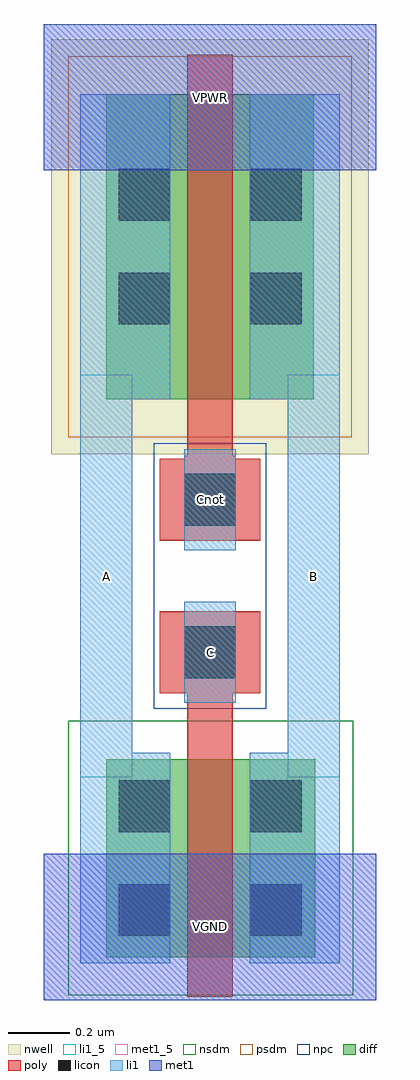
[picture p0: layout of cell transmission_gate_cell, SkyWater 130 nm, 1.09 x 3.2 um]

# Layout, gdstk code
import gdstk
lib = gdstk.Library(unit=1e-6, precision=1e-09)
def R(c, l, rs):  # rectangles x0, y0, x1, y1
    for r in rs: c.add(gdstk.rectangle(r[:2], r[2:], *l))
nwell = (64, 20)
diff = (65, 20)
poly = (66, 20)
licon = (66, 44)
li1_5 = (67, 5)
li1 = (67, 20)
met1_5 = (68, 5)
met1 = (68, 20)
nsdm = (93, 44)
psdm = (94, 20)
npc = (95, 20)

transmission_gate_cell = lib.new_cell('transmission_gate_cell')
R(transmission_gate_cell, nwell, [(-0.445,-0.18,0.595,1.18)])
R(transmission_gate_cell, diff, [(-0.265,-1.83,0.42,-1.18), (-0.265,0,0.415,1)])
R(transmission_gate_cell, poly, [(0,-1.96,0.15,-0.965), (-0.09,-0.965,0.24,-0.695), (-0.09,-0.465,0.24,-0.195), (-0.01,-0.195,0.16,-0.185), (0,-0.185,0.15,1.13)])
R(transmission_gate_cell, licon, [(-0.225,-1.76,-0.055,-1.59), (0.205,-1.76,0.375,-1.59), (-0.225,-1.42,-0.055,-1.25), (0.205,-1.42,0.375,-1.25), (-0.01,-0.915,0.16,-0.745), (-0.01,-0.415,0.16,-0.245), (-0.225,0.245,-0.055,0.415), (0.205,0.245,0.375,0.415), (-0.225,0.585,-0.055,0.755), (0.205,0.585,0.375,0.755)])
R(transmission_gate_cell, li1_5, [(-0.35,-1.24,-0.18,0.08), (0.33,-1.24,0.5,0.08), (-0.01,-0.915,0.16,-0.745), (-0.01,-0.415,0.16,-0.245)])
R(transmission_gate_cell, li1, [(-0.35,-1.85,-0.055,-1.16), (0.205,-1.85,0.5,-1.16), (-0.35,-1.16,-0.18,0), (0.33,-1.16,0.5,0), (-0.01,-0.995,0.16,-0.665), (-0.01,-0.495,0.16,-0.165), (-0.35,0,-0.055,1), (0.205,0,0.5,1)])
R(transmission_gate_cell, met1_5, [(-0.47,-1.97,0.62,-1.49), (-0.47,0.75,0.62,1.23)])
R(transmission_gate_cell, met1, [(-0.47,-1.97,0.62,-1.49), (-0.47,0.75,0.62,1.23)])
R(transmission_gate_cell, nsdm, [(-0.39,-1.955,0.545,-1.055)])
R(transmission_gate_cell, psdm, [(-0.39,-0.125,0.54,1.125)])
R(transmission_gate_cell, npc, [(-0.11,-1.015,0.26,-0.145)])
transmission_gate_cell.add(gdstk.Label('C', (0.075,-0.83), layer=67, texttype=5))
transmission_gate_cell.add(gdstk.Label('Cnot', (0.075,-0.33), layer=67, texttype=5))
transmission_gate_cell.add(gdstk.Label('A', (-0.265,-0.58), layer=67, texttype=5))
transmission_gate_cell.add(gdstk.Label('B', (0.415,-0.58), layer=67, texttype=5))
transmission_gate_cell.add(gdstk.Label('VPWR', (0.075,0.99), layer=68, texttype=5))
transmission_gate_cell.add(gdstk.Label('VGND', (0.075,-1.73), layer=68, texttype=5))

lib.write_gds('transmission_gate_cell.gds')
